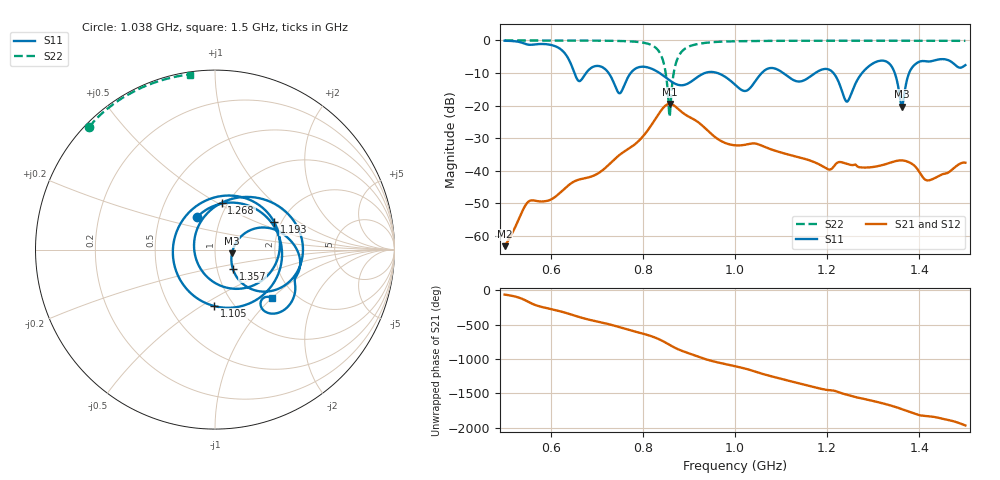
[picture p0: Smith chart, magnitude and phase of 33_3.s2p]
! TOUCHSTONE file generated by CST MICROWAVE STUDIO
! Date and time: Fri Dec 11 14:16:31 2020
! Project name: Scenario_1_Planar_Body_Tissue_Out_of_Line_v2.cst
! Parameters = {dy1=207.6; L_HA=400; Ltissue=700; MT=2.54; Rad_Dielectric=30; Rad_Lower=7.3; Rad_Upper=30; Wtissue=700; a_HA=580; a_WG=246; b_HA=500; b_WG=121; c_HA=0; c_WG=187; d_feed=85; dx1=520; h_feed=15; h_lower=18; h_upper=40; hfat=3; hgap=25; hmuscle=50; hskin=1.5}
! Header version: 2018
! Port assignment regex: !\s*Touchstone port\s*([0-9]+)\s*=\s*(CST MWS port|CST DS port)\s*([0-9]+|Zmin|Zmax)\s*\(\"(.*)\"\)(\s*mode\s*([0-9]+))?.*
! Touchstone port assignment:
! Touchstone port 1 = CST MWS port 1 ("")
! Touchstone port 2 = CST MWS port 2 ("")
# GHz S DB R 50
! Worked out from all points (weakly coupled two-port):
!   1003 points, 500 MHz to 1.5 GHz, reference 50 ohm
!   highest |S21| = -19.48 dB at 858 MHz (marker M1); lowest = -63.2 dB at 500 MHz (marker M2)
!   lowest |S11| = -20.3 dB at 1.362 GHz (marker M3), VSWR 1.21, Z = 60.3 - j2.62 ohm
!   |S11| at or under -10 dB: 836.2 MHz to 934.7 MHz (98.5 MHz wide, 11.1 % of centre); 961.7 MHz to 1.058 GHz (96.32 MHz wide, 9.54 % of centre); 1.104 GHz to 1.174 GHz (69.72 MHz wide, 6.12 % of centre)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
!   |S22| runs from -23.5 to 0.0 dB; largest |S21 - S12| = 3.7e-05
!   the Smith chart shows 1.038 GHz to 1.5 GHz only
!   S11 on the Smith chart (normalised r, x): 1.038 GHz: 0.77, +0.29; 1.105 GHz: 0.81, -0.57; 1.193 GHz: 1.83, +0.65; 1.268 GHz: 0.94, +0.53; 1.357 GHz: 1.19, -0.26; 1.5 GHz: 1.53, -1.01
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0.5  -0.09 -121.9  -63.17 -64.9  -63.17 -64.9  -0.01 151.2
0.599  -1.34 -175.8  -48.96 86.7  -48.95 86.7  -0.02 144.2
0.667  -12.03 164.8  -42.52 -41.4  -42.52 -41.4  -0.04 138.4
0.743  -15.04 16.8  -35.91 -166.3  -35.91 -166.3  -0.14 128.8
0.789  -8.32 162.5  -31.13 107.3  -31.13 107.3  -0.46 117.4
0.834  -9.80 54.8  -22.66 9.8  -22.66 9.8  -3.18 84.1
0.858  -12.24 -8.2  -19.48 -75.6  -19.48 -75.6  -23.46 -45.0
0.895  -13.42 -131.1  -23.03 173.1  -23.03 173.1  -2.21 171.6
0.936  -9.94 84.0  -27.06 76.8  -27.06 76.8  -0.74 152.9
1  -13.58 -93.8  -32.20 -25.0  -32.20 -25.0  -0.26 140.3
1.038  -13.71 118.9  -31.62 -90.7  -31.62 -90.7  -0.19 135.7
1.073  -8.58 0.2  -33.19 -161.1  -33.19 -161.1  -0.14 132.2
1.105  -10.05 -90.8  -34.63 143.2  -34.63 143.2  -0.12 129.3
1.167  -10.71 90.0  -37.08 38.2  -37.08 38.2  -0.10 124.3
1.193  -8.79 25.2  -38.88 -2.0  -38.88 -2.0  -0.09 122.2
1.224  -12.47 -66.1  -37.41 -39.9  -37.42 -39.9  -0.09 119.9
1.268  -11.55 81.7  -38.86 -123.0  -38.86 -123.0  -0.08 116.6
1.334  -7.00 -24.6  -37.68 131.8  -37.68 131.8  -0.09 111.6
1.357  -16.61 -47.5  -36.83 83.8  -36.83 83.8  -0.09 109.8
1.362  -20.30 -12.9  -36.82 72.1  -36.82 72.1  -0.09 109.4
1.397  -6.74 -1.0  -39.73 -9.2  -39.73 -9.2  -0.10 106.7
1.5  -7.57 -40.5  -37.54 -165.1  -37.54 -165.1  -0.13 98.0
